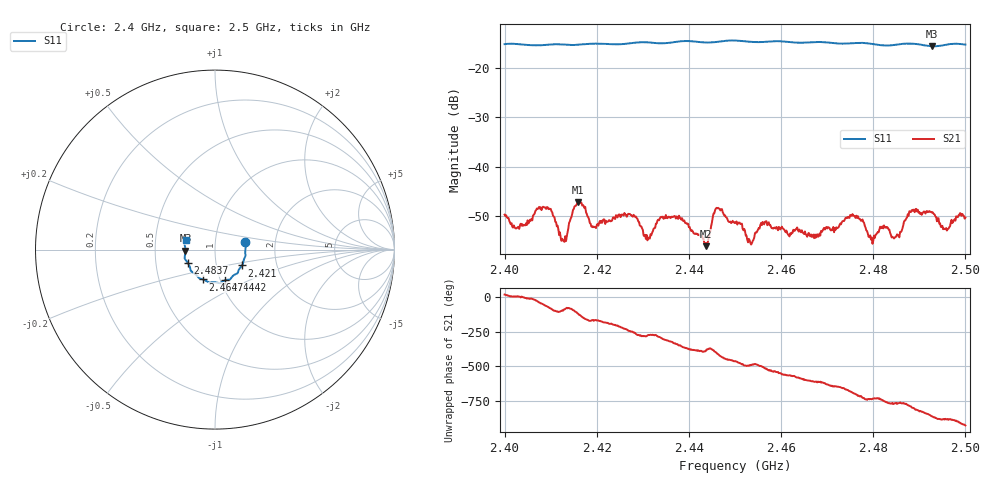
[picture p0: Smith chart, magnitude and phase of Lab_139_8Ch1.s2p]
# Hz S RI R 50
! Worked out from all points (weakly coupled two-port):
!   601 points, 2.4 GHz to 2.5 GHz, reference 50 ohm
!   highest |S21| = -47.10 dB at 2.4158 GHz (marker M1); lowest = -56.0 dB at 2.4437 GHz (marker M2)
!   lowest |S11| = -15.6 dB at 2.4928 GHz (marker M3), VSWR 1.40, Z = 35.8 - j0.385 ohm
!   |S11| at or under -10 dB: start of sweep to end of sweep
!   S12 and S22 are empty: the file has one direction only
!   S11 on the Smith chart (normalised r, x): 2.4 GHz: 1.40, +0.12; 2.421 GHz: 1.33, -0.24; 2.4442 GHz: 1.05, -0.37; 2.4647 GHz: 0.83, -0.29; 2.4837 GHz: 0.73, -0.11; 2.5 GHz: 0.72, +0.08
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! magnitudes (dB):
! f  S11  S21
! 2.4 GHz  -15.2  -49.7
! 2.4095 GHz  -15.3  -48.6
! 2.4128 GHz  -15.3  -55.0
! 2.4158 GHz  -15.3  -47.1
! 2.4167 GHz  -15.3  -47.2
! 2.421 GHz  -15.1  -50.9
! 2.4275 GHz  -15.0  -49.8
! 2.431 GHz  -14.9  -54.9
! 2.4333 GHz  -15.0  -50.7
! 2.4437 GHz  -14.9  -56.0
! 2.4442 GHz  -14.9  -54.8
! 2.4462 GHz  -14.8  -48.4
! 2.45 GHz  -14.5  -51.4
! 2.4533 GHz  -14.7  -55.4
! 2.4563 GHz  -14.8  -51.6
! 2.4647 GHz  -14.9  -53.3
! 2.4667 GHz  -14.8  -54.1
! 2.4755 GHz  -15.0  -49.5
! 2.4833 GHz  -15.5  -52.7
! 2.4837 GHz  -15.5  -53.4
! 2.4928 GHz  -15.6  -49.2
! 2.5 GHz  -15.3  -50.3
